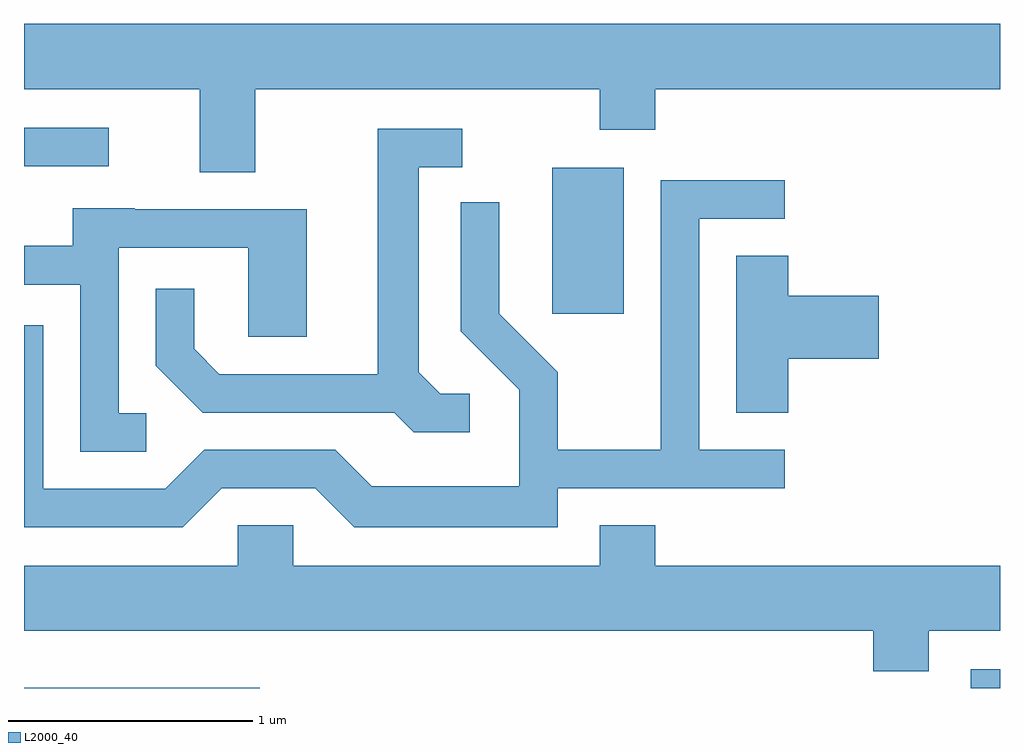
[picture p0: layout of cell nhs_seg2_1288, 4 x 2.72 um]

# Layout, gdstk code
import gdstk
lib = gdstk.Library(unit=1e-6, precision=1e-09)
def R(c, l, rs):  # rectangles x0, y0, x1, y1
    for r in rs: c.add(gdstk.rectangle(r[:2], r[2:], *l))
def P(c, l, *ps):  # polygons
    for p in ps: c.add(gdstk.Polygon(p, *l))
L2000_40 = (2000, 40)

nhs_seg2_1288 = lib.new_cell('nhs_seg2_1288')
R(nhs_seg2_1288, L2000_40, [(221.611,1105.802,222.578,1105.804), (225.491,1105.802,225.611,1105.879), (223.776,1107.336,224.069,1107.934), (221.611,1107.941,221.958,1108.099)])
P(nhs_seg2_1288, L2000_40, [(222.559,1108.256),(223.971,1108.256),(223.971,1108.091),(224.199,1108.091),(224.199,1108.256),(225.611,1108.256),(225.611,1108.524),(221.611,1108.524),(221.611,1108.256),(222.331,1108.256),(222.331,1107.916),(222.559,1107.916)],
  [(223.438,1107.009),(223.317,1107.009),(223.229,1107.097),(223.229,1107.936),(223.408,1107.936),(223.408,1108.094),(223.061,1108.094),(223.061,1107.089),(222.412,1107.089),(222.309,1107.192),(222.309,1107.438),(222.151,1107.438),(222.151,1107.124),(222.344,1106.931),(223.129,1106.931),(223.209,1106.851),(223.438,1106.851)],
  [(222.422,1106.621),(222.804,1106.621),(222.964,1106.461),(223.799,1106.461),(223.799,1106.621),(224.728,1106.621),(224.728,1106.779),(224.379,1106.779),(224.379,1107.726),(224.728,1107.726),(224.728,1107.884),(224.221,1107.884),(224.221,1106.779),(223.799,1106.779),(223.799,1107.097),(223.559,1107.337),(223.559,1107.793),(223.401,1107.793),(223.401,1107.264),(223.641,1107.024),(223.641,1106.629),(223.037,1106.629),(222.887,1106.779),(222.349,1106.779),(222.189,1106.619),(221.689,1106.619),(221.689,1107.289),(221.611,1107.289),(221.611,1106.461),(222.262,1106.461)],
  [(222.113,1106.929),(221.999,1106.929),(221.999,1107.606),(222.531,1107.606),(222.531,1107.241),(222.769,1107.241),(222.769,1107.764),(222.065,1107.764),(222.065,1107.769),(221.811,1107.769),(221.811,1107.614),(221.611,1107.614),(221.611,1107.456),(221.841,1107.456),(221.841,1106.771),(222.113,1106.771)],
  [(224.744,1107.151),(225.114,1107.151),(225.114,1107.409),(224.744,1107.409),(224.744,1107.574),(224.531,1107.574),(224.531,1106.931),(224.744,1106.931)],
  [(225.319,1106.036),(225.611,1106.036),(225.611,1106.304),(224.199,1106.304),(224.199,1106.469),(223.971,1106.469),(223.971,1106.304),(222.714,1106.304),(222.714,1106.469),(222.486,1106.469),(222.486,1106.304),(221.611,1106.304),(221.611,1106.036),(225.091,1106.036),(225.091,1105.871),(225.319,1105.871)])

lib.write_gds('nhs_seg2_1288.gds')
